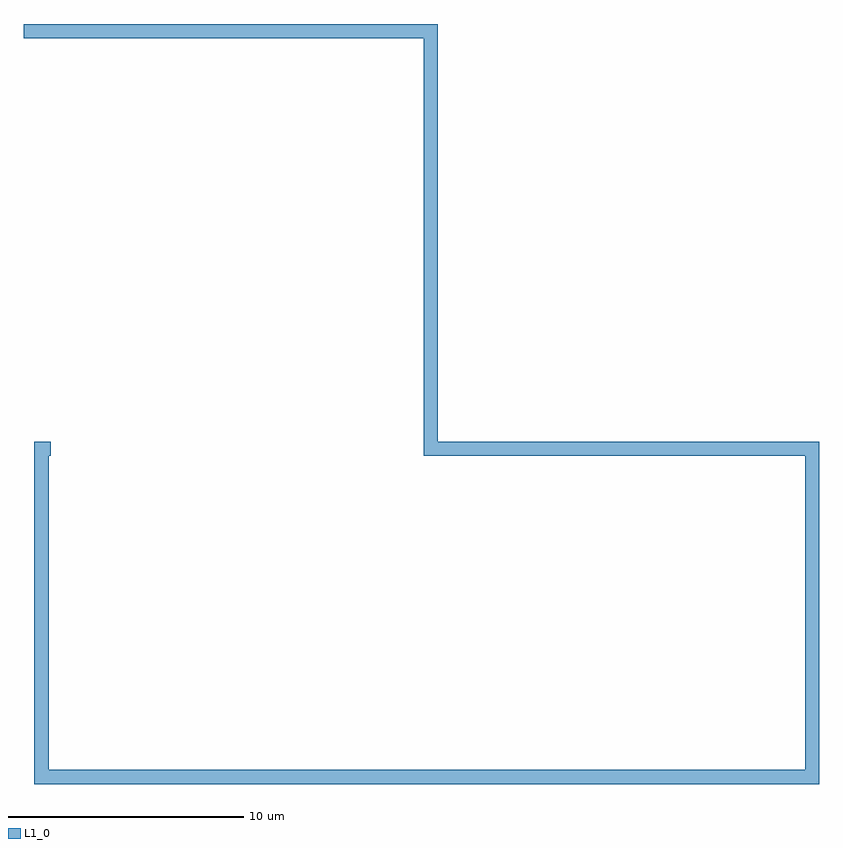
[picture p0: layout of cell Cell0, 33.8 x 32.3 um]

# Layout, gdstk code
import gdstk
lib = gdstk.Library(unit=1e-6, precision=1e-09)
L1_0 = (1, 0)

cell0 = lib.new_cell('Cell0')
cell0.add(gdstk.FlexPath([(3.75,19.6),(3.65,19.6),(3.65,5.65),(36.4,5.65),(36.4,19.6),(20.2,19.6),(20.2,37.35),(3.2,37.35)], 0.6, ends="extended", simple_path=True, layer=1, datatype=0))  # L1_0

lib.write_gds('Cell0.gds')
